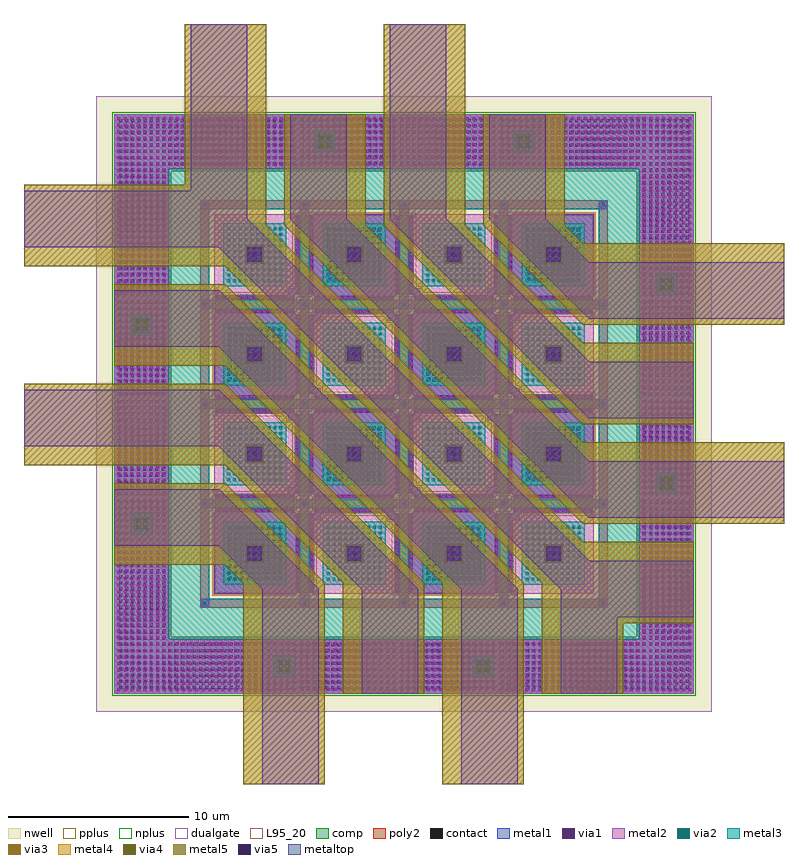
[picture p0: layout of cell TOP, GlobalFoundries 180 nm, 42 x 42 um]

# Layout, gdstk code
import gdstk
lib = gdstk.Library(unit=1e-6, precision=1e-09)
def R(c, l, rs):  # rectangles x0, y0, x1, y1
    for r in rs: c.add(gdstk.rectangle(r[:2], r[2:], *l))
def A(c, l, x, y, w, h, nx, ny, dx, dy):  # array of equal rectangles
    R(c, l, [(x+i*dx, y+j*dy, x+i*dx+w, y+j*dy+h) for i in range(nx) for j in range(ny)])
def P(c, l, *ps):  # polygons
    for p in ps: c.add(gdstk.Polygon(p, *l))
nwell = (21, 0)
comp = (22, 0)
poly2 = (30, 0)
pplus = (31, 0)
nplus = (32, 0)
contact = (33, 0)
metal1 = (34, 0)
via1 = (35, 0)
metal2 = (36, 0)
via2 = (38, 0)
via3 = (40, 0)
via4 = (41, 0)
metal3 = (42, 0)
metal4 = (46, 0)
metaltop = (53, 0)
dualgate = (55, 0)
metal5 = (81, 0)
via5 = (82, 0)
L95_20 = (95, 20)

top = lib.new_cell('TOP')
R(top, nwell, [(4,4,38,38)])
P(top, comp, [(10.54,10.54),(10.54,14.96),(10.56,14.96),(10.56,16.04),(14.61,16.04),(14.61,16.06),(14.94,16.06),(14.94,14.96),(14.96,14.96),(14.96,14.94),(16.06,14.94),(16.06,16.04),(16.04,16.04),(16.04,16.06),(20.46,16.06),(20.46,16.04),(20.44,16.04),(20.44,14.94),(21.54,14.94),(21.54,14.96),(21.56,14.96),(21.56,16.06),(14.61,16.06),(14.61,16.39),(14.96,16.39),(14.96,20.11),(14.61,20.11),(14.61,20.46),(10.56,20.46),(10.56,21.54),(10.54,21.54),(10.54,21.56),(14.96,21.56),(14.96,21.54),(14.94,21.54),(14.94,20.44),(16.04,20.44),(16.04,20.46),(16.06,20.46),(16.06,21.56),(10.54,21.56),(10.54,25.96),(10.56,25.96),(10.56,27.04),(14.61,27.04),(14.61,27.06),(14.94,27.06),(14.94,25.96),(14.96,25.96),(14.96,25.94),(16.06,25.94),(16.06,25.96),(16.39,25.96),(16.39,25.61),(16.04,25.61),(16.04,21.89),(16.39,21.89),(16.39,21.54),(20.11,21.54),(20.11,21.56),(20.44,21.56),(20.44,20.46),(20.46,20.46),(20.46,20.44),(21.56,20.44),(21.56,20.46),(21.89,20.46),(21.89,20.11),(21.54,20.11),(21.54,16.39),(21.89,16.39),(21.89,16.04),(25.61,16.04),(25.61,16.06),(25.94,16.06),(25.94,14.96),(25.96,14.96),(25.96,14.94),(27.06,14.94),(27.06,16.04),(27.04,16.04),(27.04,16.06),(25.61,16.06),(25.61,16.39),(25.96,16.39),(25.96,20.11),(25.61,20.11),(25.61,20.46),(21.56,20.46),(21.56,21.54),(21.54,21.54),(21.54,21.56),(25.96,21.56),(25.96,21.54),(25.94,21.54),(25.94,20.44),(27.04,20.44),(27.04,20.46),(27.06,20.46),(27.06,21.56),(20.11,21.56),(20.11,21.89),(20.46,21.89),(20.46,25.61),(20.11,25.61),(20.11,25.96),(16.06,25.96),(16.06,27.04),(16.04,27.04),(16.04,27.06),(20.46,27.06),(20.46,27.04),(20.44,27.04),(20.44,25.94),(21.54,25.94),(21.54,25.96),(21.56,25.96),(21.56,27.06),(14.61,27.06),(14.61,27.39),(14.96,27.39),(14.96,31.44),(16.04,31.44),(16.04,31.46),(20.46,31.46),(20.46,31.44),(21.54,31.44),(21.54,27.39),(21.89,27.39),(21.89,27.04),(25.61,27.04),(25.61,27.06),(25.94,27.06),(25.94,25.96),(25.96,25.96),(25.96,25.94),(27.06,25.94),(27.06,27.04),(27.04,27.04),(27.04,27.06),(25.61,27.06),(25.61,27.39),(25.96,27.39),(25.96,31.44),(27.04,31.44),(27.04,31.46),(31.46,31.46),(31.46,27.04),(31.44,27.04),(31.44,25.96),(27.39,25.96),(27.39,25.61),(27.04,25.61),(27.04,21.89),(27.39,21.89),(27.39,21.54),(31.44,21.54),(31.44,20.46),(31.46,20.46),(31.46,16.04),(31.44,16.04),(31.44,14.96),(27.39,14.96),(27.39,14.61),(27.04,14.61),(27.04,10.56),(25.96,10.56),(25.96,10.54),(21.54,10.54),(21.54,10.56),(20.46,10.56),(20.46,14.61),(20.11,14.61),(20.11,14.96),(16.39,14.96),(16.39,14.61),(16.04,14.61),(16.04,10.56),(14.96,10.56),(14.96,10.54)],
  [(5,5),(5,34),(8,34),(8,8),(34,8),(34,34),(5,34),(5,37),(37,37),(37,5)])
P(top, poly2, [(9.75,9.75),(9.75,15.25),(10.25,15.25),(10.25,10.25),(15.25,10.25),(15.25,15.25),(15.75,15.25),(15.75,10.25),(20.75,10.25),(20.75,15.25),(21.25,15.25),(21.25,10.25),(26.25,10.25),(26.25,15.25),(26.75,15.25),(26.75,10.25),(31.75,10.25),(31.75,15.25),(9.75,15.25),(9.75,20.75),(10.25,20.75),(10.25,15.75),(15.25,15.75),(15.25,20.75),(15.75,20.75),(15.75,15.75),(20.75,15.75),(20.75,20.75),(21.25,20.75),(21.25,15.75),(26.25,15.75),(26.25,20.75),(26.75,20.75),(26.75,15.75),(31.75,15.75),(31.75,20.75),(9.75,20.75),(9.75,26.25),(10.25,26.25),(10.25,21.25),(15.25,21.25),(15.25,26.25),(15.75,26.25),(15.75,21.25),(20.75,21.25),(20.75,26.25),(21.25,26.25),(21.25,21.25),(26.25,21.25),(26.25,26.25),(26.75,26.25),(26.75,21.25),(31.75,21.25),(31.75,26.25),(9.75,26.25),(9.75,31.75),(10.25,31.75),(10.25,26.75),(15.25,26.75),(15.25,31.75),(15.75,31.75),(15.75,26.75),(20.75,26.75),(20.75,31.75),(21.25,31.75),(21.25,26.75),(26.25,26.75),(26.25,31.75),(26.75,31.75),(26.75,26.75),(31.75,26.75),(31.75,31.75),(9.75,31.75),(9.75,32.25),(32.25,32.25),(32.25,9.75)])
P(top, pplus, [(10.415,10.415),(10.415,14.4),(11.1,14.4),(11.1,11.1),(14.4,11.1),(14.4,14.4),(10.415,14.4),(10.415,15.085),(10.435,15.085),(10.435,15.935),(15.065,15.935),(15.065,15.085),(15.085,15.085),(15.085,15.065),(15.935,15.065),(15.935,15.915),(15.915,15.915),(15.915,15.935),(20.585,15.935),(20.585,15.915),(20.565,15.915),(20.565,15.065),(21.415,15.065),(21.415,15.085),(21.435,15.085),(21.435,15.935),(26.065,15.935),(26.065,15.085),(26.085,15.085),(26.085,15.065),(26.935,15.065),(26.935,15.915),(26.915,15.915),(26.915,15.935),(10.435,15.935),(10.435,16.165),(14.485,16.165),(14.485,16.515),(14.835,16.515),(14.835,19.9),(16.6,19.9),(16.6,16.6),(19.9,16.6),(19.9,19.9),(14.835,19.9),(14.835,19.985),(14.485,19.985),(14.485,20.335),(22.015,20.335),(22.015,19.985),(21.665,19.985),(21.665,16.515),(22.015,16.515),(22.015,16.165),(25.485,16.165),(25.485,16.515),(25.835,16.515),(25.835,19.9),(27.6,19.9),(27.6,16.6),(30.9,16.6),(30.9,19.9),(25.835,19.9),(25.835,19.985),(25.485,19.985),(25.485,20.335),(10.435,20.335),(10.435,21.415),(10.415,21.415),(10.415,21.435),(15.085,21.435),(15.085,21.415),(15.065,21.415),(15.065,20.565),(15.915,20.565),(15.915,20.585),(15.935,20.585),(15.935,21.435),(20.565,21.435),(20.565,20.585),(20.585,20.585),(20.585,20.565),(21.435,20.565),(21.435,21.415),(21.415,21.415),(21.415,21.435),(26.085,21.435),(26.085,21.415),(26.065,21.415),(26.065,20.565),(26.915,20.565),(26.915,20.585),(26.935,20.585),(26.935,21.435),(10.415,21.435),(10.415,25.4),(11.1,25.4),(11.1,22.1),(14.4,22.1),(14.4,25.4),(10.415,25.4),(10.415,25.835),(16.515,25.835),(16.515,25.485),(16.165,25.485),(16.165,22.015),(16.515,22.015),(16.515,21.665),(19.985,21.665),(19.985,22.015),(20.335,22.015),(20.335,25.4),(22.1,25.4),(22.1,22.1),(25.4,22.1),(25.4,25.4),(20.335,25.4),(20.335,25.485),(19.985,25.485),(19.985,25.835),(10.415,25.835),(10.415,26.085),(10.435,26.085),(10.435,26.935),(15.065,26.935),(15.065,26.085),(15.085,26.085),(15.085,26.065),(15.935,26.065),(15.935,26.915),(15.915,26.915),(15.915,26.935),(20.585,26.935),(20.585,26.915),(20.565,26.915),(20.565,26.065),(21.415,26.065),(21.415,26.085),(21.435,26.085),(21.435,26.935),(26.065,26.935),(26.065,26.085),(26.085,26.085),(26.085,26.065),(26.935,26.065),(26.935,26.915),(26.915,26.915),(26.915,26.935),(10.435,26.935),(10.435,27.165),(14.485,27.165),(14.485,27.515),(14.835,27.515),(14.835,30.9),(16.6,30.9),(16.6,27.6),(19.9,27.6),(19.9,30.9),(14.835,30.9),(14.835,31.565),(15.915,31.565),(15.915,31.585),(20.585,31.585),(20.585,31.565),(21.665,31.565),(21.665,27.515),(22.015,27.515),(22.015,27.165),(25.485,27.165),(25.485,27.515),(25.835,27.515),(25.835,30.9),(27.6,30.9),(27.6,27.6),(30.9,27.6),(30.9,30.9),(25.835,30.9),(25.835,31.565),(26.915,31.565),(26.915,31.585),(31.585,31.585),(31.585,26.915),(31.565,26.915),(31.565,25.835),(27.515,25.835),(27.515,25.485),(27.165,25.485),(27.165,22.015),(27.515,22.015),(27.515,21.665),(31.565,21.665),(31.565,20.585),(31.585,20.585),(31.585,15.915),(31.565,15.915),(31.565,14.835),(27.515,14.835),(27.515,14.485),(27.165,14.485),(27.165,10.435),(26.085,10.435),(26.085,10.415),(21.415,10.415),(21.415,10.435),(20.335,10.435),(20.335,14.4),(22.1,14.4),(22.1,11.1),(25.4,11.1),(25.4,14.4),(20.335,14.4),(20.335,14.485),(19.985,14.485),(19.985,14.835),(16.515,14.835),(16.515,14.485),(16.165,14.485),(16.165,10.435),(15.085,10.435),(15.085,10.415)])
R(top, nplus, [(11.1,11.1,14.4,14.4), (22.1,11.1,25.4,14.4), (16.6,16.6,19.9,19.9), (27.6,16.6,30.9,19.9), (11.1,22.1,14.4,25.4), (22.1,22.1,25.4,25.4), (16.6,27.6,19.9,30.9), (27.6,27.6,30.9,30.9)])
P(top, nplus, [(4.875,4.875),(4.875,33.875),(8.125,33.875),(8.125,8.125),(33.875,8.125),(33.875,33.875),(4.875,33.875),(4.875,37.125),(37.125,37.125),(37.125,4.875)])
A(top, contact, 15.27, 5.225, 0.17, 0.17, 16, 8, 0.34, 0.34)
A(top, contact, 20.78, 5.225, 0.17, 0.17, 16, 8, 0.34, 0.34)
A(top, contact, 5.255, 5.25, 0.17, 0.17, 29, 8, 0.34, 0.34)
A(top, contact, 26.38, 5.25, 0.17, 0.17, 31, 8, 0.34, 0.34)
A(top, contact, 5.255, 7.97, 0.17, 0.17, 8, 23, 0.34, 0.34)
A(top, contact, 34.2, 7.97, 0.17, 0.17, 8, 23, 0.34, 0.34)
A(top, contact, 9.915, 9.915, 0.17, 0.17, 5, 5, 5.5, 5.5)
A(top, contact, 15.02, 10.625, 0.17, 0.17, 1, 13, 0, 0.34)
A(top, contact, 15.81, 10.625, 0.17, 0.17, 1, 13, 0, 0.34)
A(top, contact, 20.52, 10.625, 0.17, 0.17, 1, 13, 0, 0.34)
A(top, contact, 21.31, 10.625, 0.17, 0.17, 1, 13, 0, 0.34)
A(top, contact, 26.02, 10.625, 0.17, 0.17, 1, 13, 0, 0.34)
A(top, contact, 26.81, 10.625, 0.17, 0.17, 1, 13, 0, 0.34)
A(top, contact, 11.305, 11.305, 0.17, 0.17, 9, 9, 0.34, 0.34)
A(top, contact, 22.305, 11.305, 0.17, 0.17, 9, 9, 0.34, 0.34)
A(top, contact, 10.625, 15.02, 0.17, 0.17, 13, 2, 0.34, 0.79)
A(top, contact, 16.125, 15.02, 0.17, 0.17, 13, 2, 0.34, 0.79)
A(top, contact, 21.625, 15.02, 0.17, 0.17, 13, 2, 0.34, 0.79)
A(top, contact, 27.125, 15.02, 0.17, 0.17, 13, 2, 0.34, 0.79)
A(top, contact, 5.225, 15.95, 0.17, 0.17, 8, 16, 0.34, 0.34)
A(top, contact, 34.225, 15.95, 0.17, 0.17, 8, 16, 0.34, 0.34)
A(top, contact, 15.02, 16.125, 0.17, 0.17, 1, 13, 0, 0.34)
A(top, contact, 15.81, 16.125, 0.17, 0.17, 1, 13, 0, 0.34)
A(top, contact, 20.52, 16.125, 0.17, 0.17, 1, 13, 0, 0.34)
A(top, contact, 21.31, 16.125, 0.17, 0.17, 1, 13, 0, 0.34)
A(top, contact, 26.02, 16.125, 0.17, 0.17, 1, 13, 0, 0.34)
A(top, contact, 26.81, 16.125, 0.17, 0.17, 1, 13, 0, 0.34)
A(top, contact, 16.805, 16.805, 0.17, 0.17, 9, 9, 0.34, 0.34)
A(top, contact, 27.805, 16.805, 0.17, 0.17, 9, 9, 0.34, 0.34)
A(top, contact, 10.625, 20.52, 0.17, 0.17, 13, 2, 0.34, 0.79)
A(top, contact, 16.125, 20.52, 0.17, 0.17, 13, 2, 0.34, 0.79)
A(top, contact, 21.625, 20.52, 0.17, 0.17, 13, 2, 0.34, 0.79)
A(top, contact, 27.125, 20.52, 0.17, 0.17, 13, 2, 0.34, 0.79)
A(top, contact, 5.225, 21.45, 0.17, 0.17, 8, 16, 0.34, 0.34)
A(top, contact, 34.225, 21.46, 0.17, 0.17, 8, 16, 0.34, 0.34)
A(top, contact, 15.02, 21.625, 0.17, 0.17, 1, 13, 0, 0.34)
A(top, contact, 15.81, 21.625, 0.17, 0.17, 1, 13, 0, 0.34)
A(top, contact, 20.52, 21.625, 0.17, 0.17, 1, 13, 0, 0.34)
A(top, contact, 21.31, 21.625, 0.17, 0.17, 1, 13, 0, 0.34)
A(top, contact, 26.02, 21.625, 0.17, 0.17, 1, 13, 0, 0.34)
A(top, contact, 26.81, 21.625, 0.17, 0.17, 1, 13, 0, 0.34)
A(top, contact, 11.305, 22.305, 0.17, 0.17, 9, 9, 0.34, 0.34)
A(top, contact, 22.305, 22.305, 0.17, 0.17, 9, 9, 0.34, 0.34)
A(top, contact, 10.625, 26.02, 0.17, 0.17, 13, 2, 0.34, 0.79)
A(top, contact, 16.125, 26.02, 0.17, 0.17, 13, 2, 0.34, 0.79)
A(top, contact, 21.625, 26.02, 0.17, 0.17, 13, 2, 0.34, 0.79)
A(top, contact, 27.125, 26.02, 0.17, 0.17, 13, 2, 0.34, 0.79)
A(top, contact, 5.255, 27.055, 0.17, 0.17, 8, 21, 0.34, 0.34)
A(top, contact, 34.2, 27.055, 0.17, 0.17, 8, 21, 0.34, 0.34)
A(top, contact, 15.02, 27.125, 0.17, 0.17, 1, 13, 0, 0.34)
A(top, contact, 15.81, 27.125, 0.17, 0.17, 1, 13, 0, 0.34)
A(top, contact, 20.52, 27.125, 0.17, 0.17, 1, 13, 0, 0.34)
A(top, contact, 21.31, 27.125, 0.17, 0.17, 1, 13, 0, 0.34)
A(top, contact, 26.02, 27.125, 0.17, 0.17, 1, 13, 0, 0.34)
A(top, contact, 26.81, 27.125, 0.17, 0.17, 1, 13, 0, 0.34)
A(top, contact, 16.805, 27.805, 0.17, 0.17, 9, 9, 0.34, 0.34)
A(top, contact, 27.805, 27.805, 0.17, 0.17, 9, 9, 0.34, 0.34)
A(top, contact, 5.255, 34.195, 0.17, 0.17, 29, 8, 0.34, 0.34)
A(top, contact, 26.38, 34.195, 0.17, 0.17, 31, 8, 0.34, 0.34)
A(top, contact, 15.28, 34.225, 0.17, 0.17, 16, 8, 0.34, 0.34)
A(top, contact, 20.78, 34.225, 0.17, 0.17, 16, 8, 0.34, 0.34)
A(top, metal1, 9.75, 9.75, 0.5, 0.5, 5, 5, 5.5, 5.5)
P(top, metal1, [(10.48,10.48),(10.48,15.02),(10.54,15.02),(10.54,15.19),(14.96,15.19),(14.96,15.02),(15.02,15.02),(15.02,14.96),(15.19,14.96),(15.19,10.54),(15.02,10.54),(15.02,10.48)],
  [(15.81,10.54),(15.81,14.96),(16.04,14.96),(16.04,15.19),(20.46,15.19),(20.46,14.96),(20.69,14.96),(20.69,10.54),(20.52,10.54),(20.52,14.61),(20.11,14.61),(20.11,15.02),(16.39,15.02),(16.39,14.61),(15.98,14.61),(15.98,10.54)],
  [(21.48,10.48),(21.48,10.54),(21.31,10.54),(21.31,14.96),(21.48,14.96),(21.48,15.02),(21.54,15.02),(21.54,15.19),(25.96,15.19),(25.96,15.02),(26.02,15.02),(26.02,14.96),(26.19,14.96),(26.19,10.54),(26.02,10.54),(26.02,10.48)],
  [(26.81,10.54),(26.81,14.96),(27.04,14.96),(27.04,15.19),(31.46,15.19),(31.46,15.02),(27.39,15.02),(27.39,14.61),(26.98,14.61),(26.98,10.54)],
  [(10.54,15.81),(10.54,15.98),(14.61,15.98),(14.61,16.39),(15.02,16.39),(15.02,20.11),(14.61,20.11),(14.61,20.52),(10.54,20.52),(10.54,20.69),(14.96,20.69),(14.96,20.46),(15.19,20.46),(15.19,16.04),(14.96,16.04),(14.96,15.81)],
  [(16.04,15.81),(16.04,15.98),(15.98,15.98),(15.98,16.04),(15.81,16.04),(15.81,20.46),(15.98,20.46),(15.98,20.52),(16.04,20.52),(16.04,20.69),(20.46,20.69),(20.46,20.52),(20.52,20.52),(20.52,20.46),(20.69,20.46),(20.69,16.04),(20.52,16.04),(20.52,15.98),(20.46,15.98),(20.46,15.81)],
  [(21.54,15.81),(21.54,16.04),(21.31,16.04),(21.31,20.46),(21.54,20.46),(21.54,20.52),(21.89,20.52),(21.89,20.11),(21.48,20.11),(21.48,16.39),(21.89,16.39),(21.89,15.98),(25.61,15.98),(25.61,16.39),(26.02,16.39),(26.02,20.11),(25.61,20.11),(25.61,20.52),(21.54,20.52),(21.54,20.69),(25.96,20.69),(25.96,20.46),(26.19,20.46),(26.19,16.04),(25.96,16.04),(25.96,15.81)],
  [(27.04,15.81),(27.04,15.98),(26.98,15.98),(26.98,16.04),(26.81,16.04),(26.81,20.46),(26.98,20.46),(26.98,20.52),(27.04,20.52),(27.04,20.69),(31.46,20.69),(31.46,20.52),(31.52,20.52),(31.52,15.98),(31.46,15.98),(31.46,15.81)],
  [(10.54,21.31),(10.54,21.48),(10.48,21.48),(10.48,26.02),(10.54,26.02),(10.54,26.19),(14.96,26.19),(14.96,26.02),(15.02,26.02),(15.02,25.96),(15.19,25.96),(15.19,21.54),(15.02,21.54),(15.02,21.48),(14.96,21.48),(14.96,21.31)],
  [(16.04,21.31),(16.04,21.54),(15.81,21.54),(15.81,25.96),(16.04,25.96),(16.04,26.02),(16.39,26.02),(16.39,25.61),(15.98,25.61),(15.98,21.89),(16.39,21.89),(16.39,21.48),(20.11,21.48),(20.11,21.89),(20.52,21.89),(20.52,25.61),(20.11,25.61),(20.11,26.02),(16.04,26.02),(16.04,26.19),(20.46,26.19),(20.46,25.96),(20.69,25.96),(20.69,21.54),(20.46,21.54),(20.46,21.31)],
  [(21.54,21.31),(21.54,21.48),(21.48,21.48),(21.48,21.54),(21.31,21.54),(21.31,25.96),(21.48,25.96),(21.48,26.02),(21.54,26.02),(21.54,26.19),(25.96,26.19),(25.96,26.02),(26.02,26.02),(26.02,25.96),(26.19,25.96),(26.19,21.54),(26.02,21.54),(26.02,21.48),(25.96,21.48),(25.96,21.31)],
  [(27.04,21.31),(27.04,21.54),(26.81,21.54),(26.81,25.96),(27.04,25.96),(27.04,26.19),(31.46,26.19),(31.46,26.02),(27.39,26.02),(27.39,25.61),(26.98,25.61),(26.98,21.89),(27.39,21.89),(27.39,21.48),(31.46,21.48),(31.46,21.31)],
  [(10.54,26.81),(10.54,26.98),(14.61,26.98),(14.61,27.39),(15.02,27.39),(15.02,31.46),(15.19,31.46),(15.19,27.04),(14.96,27.04),(14.96,26.81)],
  [(21.54,26.81),(21.54,27.04),(21.31,27.04),(21.31,31.46),(21.48,31.46),(21.48,27.39),(21.89,27.39),(21.89,26.98),(25.61,26.98),(25.61,27.39),(26.02,27.39),(26.02,31.46),(26.19,31.46),(26.19,27.04),(25.96,27.04),(25.96,26.81)],
  [(16.04,26.81),(16.04,26.98),(15.98,26.98),(15.98,27.04),(15.81,27.04),(15.81,31.46),(15.98,31.46),(15.98,31.52),(20.52,31.52),(20.52,31.46),(20.69,31.46),(20.69,27.04),(20.52,27.04),(20.52,26.98),(20.46,26.98),(20.46,26.81)],
  [(27.04,26.81),(27.04,26.98),(26.98,26.98),(26.98,27.04),(26.81,27.04),(26.81,31.46),(26.98,31.46),(26.98,31.52),(31.52,31.52),(31.52,26.98),(31.46,26.98),(31.46,26.81)],
  [(5,5),(5,34),(8,34),(8,8),(34,8),(34,34),(5,34),(5,37),(37,37),(37,5)])
A(top, via1, 5.145, 5.13, 0.17, 0.17, 28, 8, 0.36, 0.36)
A(top, via1, 26.26, 5.13, 0.17, 0.17, 30, 8, 0.36, 0.36)
A(top, via1, 15.3, 5.155, 0.17, 0.17, 15, 8, 0.36, 0.36)
A(top, via1, 20.8, 5.155, 0.17, 0.17, 15, 8, 0.36, 0.36)
A(top, via1, 5.145, 8.01, 0.17, 0.17, 8, 22, 0.36, 0.36)
A(top, via1, 34.18, 8.01, 0.17, 0.17, 8, 22, 0.36, 0.36)
A(top, via1, 9.915, 9.915, 0.17, 0.17, 5, 5, 5.5, 5.5)
A(top, via1, 15.02, 10.685, 0.17, 0.17, 1, 12, 0, 0.36)
A(top, via1, 15.81, 10.685, 0.17, 0.17, 1, 12, 0, 0.36)
A(top, via1, 20.52, 10.685, 0.17, 0.17, 1, 12, 0, 0.36)
A(top, via1, 21.31, 10.685, 0.17, 0.17, 1, 12, 0, 0.36)
A(top, via1, 26.02, 10.685, 0.17, 0.17, 1, 12, 0, 0.36)
A(top, via1, 26.81, 10.685, 0.17, 0.17, 1, 12, 0, 0.36)
A(top, via1, 11.225, 11.225, 0.17, 0.17, 9, 9, 0.36, 0.36)
A(top, via1, 22.225, 11.225, 0.17, 0.17, 9, 9, 0.36, 0.36)
A(top, via1, 10.685, 15.02, 0.17, 0.17, 12, 2, 0.36, 0.79)
A(top, via1, 16.185, 15.02, 0.17, 0.17, 12, 2, 0.36, 0.79)
A(top, via1, 21.685, 15.02, 0.17, 0.17, 12, 2, 0.36, 0.79)
A(top, via1, 27.185, 15.02, 0.17, 0.17, 12, 2, 0.36, 0.79)
A(top, via1, 5.155, 15.99, 0.17, 0.17, 8, 15, 0.36, 0.36)
A(top, via1, 34.155, 15.99, 0.17, 0.17, 8, 15, 0.36, 0.36)
A(top, via1, 15.02, 16.185, 0.17, 0.17, 1, 12, 0, 0.36)
A(top, via1, 15.81, 16.185, 0.17, 0.17, 1, 12, 0, 0.36)
A(top, via1, 20.52, 16.185, 0.17, 0.17, 1, 12, 0, 0.36)
A(top, via1, 21.31, 16.185, 0.17, 0.17, 1, 12, 0, 0.36)
A(top, via1, 26.02, 16.185, 0.17, 0.17, 1, 12, 0, 0.36)
A(top, via1, 26.81, 16.185, 0.17, 0.17, 1, 12, 0, 0.36)
A(top, via1, 16.725, 16.725, 0.17, 0.17, 9, 9, 0.36, 0.36)
A(top, via1, 27.725, 16.725, 0.17, 0.17, 9, 9, 0.36, 0.36)
A(top, via1, 10.685, 20.52, 0.17, 0.17, 12, 2, 0.36, 0.79)
A(top, via1, 16.185, 20.52, 0.17, 0.17, 12, 2, 0.36, 0.79)
A(top, via1, 21.685, 20.52, 0.17, 0.17, 12, 2, 0.36, 0.79)
A(top, via1, 27.185, 20.52, 0.17, 0.17, 12, 2, 0.36, 0.79)
A(top, via1, 5.155, 21.49, 0.17, 0.17, 8, 15, 0.36, 0.36)
A(top, via1, 34.155, 21.49, 0.17, 0.17, 8, 15, 0.36, 0.36)
A(top, via1, 15.02, 21.685, 0.17, 0.17, 1, 12, 0, 0.36)
A(top, via1, 15.81, 21.685, 0.17, 0.17, 1, 12, 0, 0.36)
A(top, via1, 20.52, 21.685, 0.17, 0.17, 1, 12, 0, 0.36)
A(top, via1, 21.31, 21.685, 0.17, 0.17, 1, 12, 0, 0.36)
A(top, via1, 26.02, 21.685, 0.17, 0.17, 1, 12, 0, 0.36)
A(top, via1, 26.81, 21.685, 0.17, 0.17, 1, 12, 0, 0.36)
A(top, via1, 11.225, 22.225, 0.17, 0.17, 9, 9, 0.36, 0.36)
A(top, via1, 22.225, 22.225, 0.17, 0.17, 9, 9, 0.36, 0.36)
A(top, via1, 10.685, 26.02, 0.17, 0.17, 12, 2, 0.36, 0.79)
A(top, via1, 16.185, 26.02, 0.17, 0.17, 12, 2, 0.36, 0.79)
A(top, via1, 21.685, 26.02, 0.17, 0.17, 12, 2, 0.36, 0.79)
A(top, via1, 27.185, 26.02, 0.17, 0.17, 12, 2, 0.36, 0.79)
A(top, via1, 5.145, 26.965, 0.17, 0.17, 8, 20, 0.36, 0.36)
A(top, via1, 34.18, 26.965, 0.17, 0.17, 8, 20, 0.36, 0.36)
A(top, via1, 15.02, 27.185, 0.17, 0.17, 1, 12, 0, 0.36)
A(top, via1, 15.81, 27.185, 0.17, 0.17, 1, 12, 0, 0.36)
A(top, via1, 20.52, 27.185, 0.17, 0.17, 1, 12, 0, 0.36)
A(top, via1, 21.31, 27.185, 0.17, 0.17, 1, 12, 0, 0.36)
A(top, via1, 26.02, 27.185, 0.17, 0.17, 1, 12, 0, 0.36)
A(top, via1, 26.81, 27.185, 0.17, 0.17, 1, 12, 0, 0.36)
A(top, via1, 16.725, 27.725, 0.17, 0.17, 9, 9, 0.36, 0.36)
A(top, via1, 27.725, 27.725, 0.17, 0.17, 9, 9, 0.36, 0.36)
A(top, via1, 15.3, 34.155, 0.17, 0.17, 15, 8, 0.36, 0.36)
A(top, via1, 20.8, 34.155, 0.17, 0.17, 15, 8, 0.36, 0.36)
A(top, via1, 5.145, 34.165, 0.17, 0.17, 28, 8, 0.36, 0.36)
A(top, via1, 26.26, 34.165, 0.17, 0.17, 30, 8, 0.36, 0.36)
A(top, metal2, 9.75, 9.75, 0.5, 0.5, 5, 5, 5.5, 5.5)
P(top, metal2, [(10.51,10.51),(10.51,14.99),(10.56,14.99),(10.56,15.22),(14.94,15.22),(14.94,14.99),(14.99,14.99),(14.99,14.94),(15.22,14.94),(15.22,10.56),(14.99,10.56),(14.99,10.51)],
  [(16.01,10.51),(16.01,10.56),(15.78,10.56),(15.78,14.94),(16.01,14.94),(16.01,14.99),(16.06,14.99),(16.06,15.22),(20.44,15.22),(20.44,14.99),(20.49,14.99),(20.49,14.94),(20.72,14.94),(20.72,10.56),(20.49,10.56),(20.49,10.51)],
  [(21.51,10.51),(21.51,10.56),(21.28,10.56),(21.28,14.94),(21.51,14.94),(21.51,14.99),(21.56,14.99),(21.56,15.22),(25.94,15.22),(25.94,14.99),(25.99,14.99),(25.99,14.94),(26.22,14.94),(26.22,10.56),(25.99,10.56),(25.99,10.51)],
  [(27.01,10.51),(27.01,10.56),(26.78,10.56),(26.78,14.94),(27.01,14.94),(27.01,14.99),(27.06,14.99),(27.06,15.22),(31.44,15.22),(31.44,14.99),(31.49,14.99),(31.49,10.51)],
  [(10.56,15.78),(10.56,16.01),(10.51,16.01),(10.51,20.49),(10.56,20.49),(10.56,20.72),(14.94,20.72),(14.94,20.49),(14.99,20.49),(14.99,20.44),(15.22,20.44),(15.22,16.06),(14.99,16.06),(14.99,16.01),(14.94,16.01),(14.94,15.78)],
  [(16.06,15.78),(16.06,16.01),(16.01,16.01),(16.01,16.06),(15.78,16.06),(15.78,20.44),(16.01,20.44),(16.01,20.49),(16.06,20.49),(16.06,20.72),(20.44,20.72),(20.44,20.49),(20.49,20.49),(20.49,20.44),(20.72,20.44),(20.72,16.06),(20.49,16.06),(20.49,16.01),(20.44,16.01),(20.44,15.78)],
  [(21.56,15.78),(21.56,16.01),(21.51,16.01),(21.51,16.06),(21.28,16.06),(21.28,20.44),(21.51,20.44),(21.51,20.49),(21.56,20.49),(21.56,20.72),(25.94,20.72),(25.94,20.49),(25.99,20.49),(25.99,20.44),(26.22,20.44),(26.22,16.06),(25.99,16.06),(25.99,16.01),(25.94,16.01),(25.94,15.78)],
  [(27.06,15.78),(27.06,16.01),(27.01,16.01),(27.01,16.06),(26.78,16.06),(26.78,20.44),(27.01,20.44),(27.01,20.49),(27.06,20.49),(27.06,20.72),(31.44,20.72),(31.44,20.49),(31.49,20.49),(31.49,16.01),(31.44,16.01),(31.44,15.78)],
  [(10.56,21.28),(10.56,21.51),(10.51,21.51),(10.51,25.99),(10.56,25.99),(10.56,26.22),(14.94,26.22),(14.94,25.99),(14.99,25.99),(14.99,25.94),(15.22,25.94),(15.22,21.56),(14.99,21.56),(14.99,21.51),(14.94,21.51),(14.94,21.28)],
  [(16.06,21.28),(16.06,21.51),(16.01,21.51),(16.01,21.56),(15.78,21.56),(15.78,25.94),(16.01,25.94),(16.01,25.99),(16.06,25.99),(16.06,26.22),(20.44,26.22),(20.44,25.99),(20.49,25.99),(20.49,25.94),(20.72,25.94),(20.72,21.56),(20.49,21.56),(20.49,21.51),(20.44,21.51),(20.44,21.28)],
  [(21.56,21.28),(21.56,21.51),(21.51,21.51),(21.51,21.56),(21.28,21.56),(21.28,25.94),(21.51,25.94),(21.51,25.99),(21.56,25.99),(21.56,26.22),(25.94,26.22),(25.94,25.99),(25.99,25.99),(25.99,25.94),(26.22,25.94),(26.22,21.56),(25.99,21.56),(25.99,21.51),(25.94,21.51),(25.94,21.28)],
  [(27.06,21.28),(27.06,21.51),(27.01,21.51),(27.01,21.56),(26.78,21.56),(26.78,25.94),(27.01,25.94),(27.01,25.99),(27.06,25.99),(27.06,26.22),(31.44,26.22),(31.44,25.99),(31.49,25.99),(31.49,21.51),(31.44,21.51),(31.44,21.28)],
  [(10.56,26.78),(10.56,27.01),(10.51,27.01),(10.51,31.49),(14.99,31.49),(14.99,31.44),(15.22,31.44),(15.22,27.06),(14.99,27.06),(14.99,27.01),(14.94,27.01),(14.94,26.78)],
  [(16.06,26.78),(16.06,27.01),(16.01,27.01),(16.01,27.06),(15.78,27.06),(15.78,31.44),(16.01,31.44),(16.01,31.49),(20.49,31.49),(20.49,31.44),(20.72,31.44),(20.72,27.06),(20.49,27.06),(20.49,27.01),(20.44,27.01),(20.44,26.78)],
  [(21.56,26.78),(21.56,27.01),(21.51,27.01),(21.51,27.06),(21.28,27.06),(21.28,31.44),(21.51,31.44),(21.51,31.49),(25.99,31.49),(25.99,31.44),(26.22,31.44),(26.22,27.06),(25.99,27.06),(25.99,27.01),(25.94,27.01),(25.94,26.78)],
  [(27.06,26.78),(27.06,27.01),(27.01,27.01),(27.01,27.06),(26.78,27.06),(26.78,31.44),(27.01,31.44),(27.01,31.49),(31.49,31.49),(31.49,27.01),(31.44,27.01),(31.44,26.78)],
  [(5,5),(5,34),(8,34),(8,8),(34,8),(34,34),(5,34),(5,37),(37,37),(37,5)])
A(top, via2, 13.975, 6.105, 0.15, 0.15, 3, 3, 0.32, 0.32)
A(top, via2, 24.975, 6.105, 0.15, 0.15, 3, 3, 0.32, 0.32)
A(top, via2, 9.925, 9.925, 0.15, 0.15, 5, 5, 5.5, 5.5)
A(top, via2, 11.235, 11.235, 0.15, 0.15, 10, 10, 0.32, 0.32)
A(top, via2, 16.735, 11.235, 0.15, 0.15, 10, 10, 0.32, 0.32)
A(top, via2, 22.235, 11.235, 0.15, 0.15, 10, 10, 0.32, 0.32)
A(top, via2, 27.735, 11.235, 0.15, 0.15, 10, 10, 0.32, 0.32)
A(top, via2, 6.105, 13.975, 0.15, 0.15, 3, 3, 0.32, 0.32)
A(top, via2, 35.105, 16.235, 0.15, 0.15, 3, 3, 0.32, 0.32)
A(top, via2, 11.235, 16.735, 0.15, 0.15, 10, 10, 0.32, 0.32)
A(top, via2, 16.735, 16.735, 0.15, 0.15, 10, 10, 0.32, 0.32)
A(top, via2, 22.235, 16.735, 0.15, 0.15, 10, 10, 0.32, 0.32)
A(top, via2, 27.735, 16.735, 0.15, 0.15, 10, 10, 0.32, 0.32)
A(top, via2, 11.235, 22.235, 0.15, 0.15, 10, 10, 0.32, 0.32)
A(top, via2, 16.735, 22.235, 0.15, 0.15, 10, 10, 0.32, 0.32)
A(top, via2, 22.235, 22.235, 0.15, 0.15, 10, 10, 0.32, 0.32)
A(top, via2, 27.735, 22.235, 0.15, 0.15, 10, 10, 0.32, 0.32)
A(top, via2, 6.105, 24.975, 0.15, 0.15, 3, 3, 0.32, 0.32)
A(top, via2, 35.105, 27.235, 0.15, 0.15, 3, 3, 0.32, 0.32)
A(top, via2, 11.235, 27.735, 0.15, 0.15, 10, 10, 0.32, 0.32)
A(top, via2, 16.735, 27.735, 0.15, 0.15, 10, 10, 0.32, 0.32)
A(top, via2, 22.235, 27.735, 0.15, 0.15, 10, 10, 0.32, 0.32)
A(top, via2, 27.735, 27.735, 0.15, 0.15, 10, 10, 0.32, 0.32)
A(top, via2, 16.235, 35.105, 0.15, 0.15, 3, 3, 0.32, 0.32)
A(top, via2, 27.235, 35.105, 0.15, 0.15, 3, 3, 0.32, 0.32)
A(top, via3, 12.25, 12.25, 0.2, 0.2, 3, 3, 0.4, 0.4)
A(top, via3, 17.75, 12.25, 0.2, 0.2, 3, 3, 0.4, 0.4)
A(top, via3, 23.25, 12.25, 0.2, 0.2, 3, 3, 0.4, 0.4)
A(top, via3, 28.75, 12.25, 0.2, 0.2, 3, 3, 0.4, 0.4)
A(top, via3, 12.25, 17.75, 0.2, 0.2, 3, 3, 0.4, 0.4)
A(top, via3, 17.75, 17.75, 0.2, 0.2, 3, 3, 0.4, 0.4)
A(top, via3, 23.25, 17.75, 0.2, 0.2, 3, 3, 0.4, 0.4)
A(top, via3, 28.75, 17.75, 0.2, 0.2, 3, 3, 0.4, 0.4)
A(top, via3, 12.25, 23.25, 0.2, 0.2, 3, 3, 0.4, 0.4)
A(top, via3, 17.75, 23.25, 0.2, 0.2, 3, 3, 0.4, 0.4)
A(top, via3, 23.25, 23.25, 0.2, 0.2, 3, 3, 0.4, 0.4)
A(top, via3, 28.75, 23.25, 0.2, 0.2, 3, 3, 0.4, 0.4)
A(top, via3, 12.25, 28.75, 0.2, 0.2, 3, 3, 0.4, 0.4)
A(top, via3, 17.75, 28.75, 0.2, 0.2, 3, 3, 0.4, 0.4)
A(top, via3, 23.25, 28.75, 0.2, 0.2, 3, 3, 0.4, 0.4)
A(top, via3, 28.75, 28.75, 0.2, 0.2, 3, 3, 0.4, 0.4)
R(top, via3, [(14.07,6.2,14.27,6.4), (14.47,6.2,14.67,6.4), (25.07,6.2,25.27,6.4), (25.47,6.2,25.67,6.4), (14.07,6.6,14.27,6.8), (14.47,6.6,14.67,6.8), (25.07,6.6,25.27,6.8), (25.47,6.6,25.67,6.8), (6.2,14.07,6.4,14.27), (6.6,14.07,6.8,14.27), (6.2,14.47,6.4,14.67), (6.6,14.47,6.8,14.67), (35.2,16.33,35.4,16.53), (35.6,16.33,35.8,16.53), (35.2,16.73,35.4,16.93), (35.6,16.73,35.8,16.93), (6.2,25.07,6.4,25.27), (6.6,25.07,6.8,25.27), (6.2,25.47,6.4,25.67), (6.6,25.47,6.8,25.67), (35.2,27.33,35.4,27.53), (35.6,27.33,35.8,27.53), (35.2,27.73,35.4,27.93), (35.6,27.73,35.8,27.93), (16.33,35.2,16.53,35.4), (16.73,35.2,16.93,35.4), (27.33,35.2,27.53,35.4), (27.73,35.2,27.93,35.4), (16.33,35.6,16.53,35.8), (16.73,35.6,16.93,35.8), (27.33,35.6,27.53,35.8), (27.73,35.6,27.93,35.8)])
A(top, via4, 12.25, 12.25, 0.2, 0.2, 3, 3, 0.4, 0.4)
A(top, via4, 17.75, 12.25, 0.2, 0.2, 3, 3, 0.4, 0.4)
A(top, via4, 23.25, 12.25, 0.2, 0.2, 3, 3, 0.4, 0.4)
A(top, via4, 28.75, 12.25, 0.2, 0.2, 3, 3, 0.4, 0.4)
A(top, via4, 12.25, 17.75, 0.2, 0.2, 3, 3, 0.4, 0.4)
A(top, via4, 17.75, 17.75, 0.2, 0.2, 3, 3, 0.4, 0.4)
A(top, via4, 23.25, 17.75, 0.2, 0.2, 3, 3, 0.4, 0.4)
A(top, via4, 28.75, 17.75, 0.2, 0.2, 3, 3, 0.4, 0.4)
A(top, via4, 12.25, 23.25, 0.2, 0.2, 3, 3, 0.4, 0.4)
A(top, via4, 17.75, 23.25, 0.2, 0.2, 3, 3, 0.4, 0.4)
A(top, via4, 23.25, 23.25, 0.2, 0.2, 3, 3, 0.4, 0.4)
A(top, via4, 28.75, 23.25, 0.2, 0.2, 3, 3, 0.4, 0.4)
A(top, via4, 12.25, 28.75, 0.2, 0.2, 3, 3, 0.4, 0.4)
A(top, via4, 17.75, 28.75, 0.2, 0.2, 3, 3, 0.4, 0.4)
A(top, via4, 23.25, 28.75, 0.2, 0.2, 3, 3, 0.4, 0.4)
A(top, via4, 28.75, 28.75, 0.2, 0.2, 3, 3, 0.4, 0.4)
R(top, via4, [(14.07,6.2,14.27,6.4), (14.47,6.2,14.67,6.4), (25.07,6.2,25.27,6.4), (25.47,6.2,25.67,6.4), (14.07,6.6,14.27,6.8), (14.47,6.6,14.67,6.8), (25.07,6.6,25.27,6.8), (25.47,6.6,25.67,6.8), (6.2,14.07,6.4,14.27), (6.6,14.07,6.8,14.27), (6.2,14.47,6.4,14.67), (6.6,14.47,6.8,14.67), (35.2,16.33,35.4,16.53), (35.6,16.33,35.8,16.53), (35.2,16.73,35.4,16.93), (35.6,16.73,35.8,16.93), (6.2,25.07,6.4,25.27), (6.6,25.07,6.8,25.27), (6.2,25.47,6.4,25.67), (6.6,25.47,6.8,25.67), (35.2,27.33,35.4,27.53), (35.6,27.33,35.8,27.53), (35.2,27.73,35.4,27.93), (35.6,27.73,35.8,27.93), (16.33,35.2,16.53,35.4), (16.73,35.2,16.93,35.4), (27.33,35.2,27.53,35.4), (27.73,35.2,27.93,35.4), (16.33,35.6,16.53,35.8), (16.73,35.6,16.93,35.8), (27.33,35.6,27.53,35.8), (27.73,35.6,27.93,35.8)])
A(top, metal3, 11, 11, 3.5, 3.5, 4, 4, 5.5, 5.5)
R(top, metal3, [(13.77,5.9,14.97,7.1), (24.77,5.9,25.97,7.1), (5.9,13.77,7.1,14.97), (34.9,16.03,36.1,17.23), (5.9,24.77,7.1,25.97), (34.9,27.03,36.1,28.23), (16.03,34.9,17.23,36.1), (27.03,34.9,28.23,36.1)])
P(top, metal3, [(8,8),(8,15.25),(10.25,15.25),(10.25,10.25),(15.25,10.25),(15.25,15.25),(15.75,15.25),(15.75,10.25),(20.75,10.25),(20.75,15.25),(21.25,15.25),(21.25,10.25),(26.25,10.25),(26.25,15.25),(26.75,15.25),(26.75,10.25),(31.75,10.25),(31.75,15.25),(8,15.25),(8,20.75),(10.25,20.75),(10.25,15.75),(15.25,15.75),(15.25,20.75),(15.75,20.75),(15.75,15.75),(20.75,15.75),(20.75,20.75),(21.25,20.75),(21.25,15.75),(26.25,15.75),(26.25,20.75),(26.75,20.75),(26.75,15.75),(31.75,15.75),(31.75,20.75),(8,20.75),(8,26.25),(10.25,26.25),(10.25,21.25),(15.25,21.25),(15.25,26.25),(15.75,26.25),(15.75,21.25),(20.75,21.25),(20.75,26.25),(21.25,26.25),(21.25,21.25),(26.25,21.25),(26.25,26.25),(26.75,26.25),(26.75,21.25),(31.75,21.25),(31.75,26.25),(8,26.25),(8,31.75),(10.25,31.75),(10.25,26.75),(15.25,26.75),(15.25,31.75),(15.75,31.75),(15.75,26.75),(20.75,26.75),(20.75,31.75),(21.25,31.75),(21.25,26.75),(26.25,26.75),(26.25,31.75),(26.75,31.75),(26.75,26.75),(31.75,26.75),(31.75,31.75),(8,31.75),(8,34),(34,34),(34,8)])
P(top, metal4, [(12.11,0),(12.11,11.13),(11.13,12.11),(5,12.11),(5,16.63),(11.13,16.63),(16.63,11.13),(16.63,0)],
  [(17.61,5),(17.61,11.13),(11.13,17.61),(0,17.61),(0,22.13),(11.13,22.13),(22.13,11.13),(22.13,5)],
  [(23.11,0),(23.11,11.13),(11.13,23.11),(5,23.11),(5,27.63),(11.13,27.63),(27.63,11.13),(27.63,0)],
  [(30.87,14.37),(14.37,30.87),(14.37,37),(18.89,37),(18.89,30.87),(30.87,18.89),(42,18.89),(42,14.37)],
  [(30.87,25.37),(25.37,30.87),(25.37,37),(29.89,37),(29.89,30.87),(30.87,29.89),(42,29.89),(42,25.37)],
  [(28.61,5),(28.61,11.13),(11.13,28.61),(0,28.61),(0,33.13),(8.87,33.13),(8.87,42),(13.39,42),(13.39,30.87),(30.87,13.39),(37,13.39),(37,8.87),(33.13,8.87),(33.13,5)],
  [(30.87,19.87),(19.87,30.87),(19.87,42),(24.39,42),(24.39,30.87),(30.87,24.39),(37,24.39),(37,19.87)])
P(top, metaltop, [(13.17,0),(13.17,10.77),(10.77,13.17),(5,13.17),(5,16.28),(10.78,16.28),(16.28,10.78),(16.28,0)],
  [(18.67,5),(18.67,10.77),(10.77,18.67),(0,18.67),(0,21.78),(10.78,21.78),(21.78,10.78),(21.78,5)],
  [(24.17,0),(24.17,10.77),(10.77,24.17),(5,24.17),(5,27.28),(10.78,27.28),(27.28,10.78),(27.28,0)],
  [(31.22,14.72),(14.72,31.22),(14.72,37),(17.83,37),(17.83,31.23),(31.23,17.83),(42,17.83),(42,14.72)],
  [(31.22,25.72),(25.72,31.22),(25.72,37),(28.83,37),(28.83,31.23),(31.23,28.83),(42,28.83),(42,25.72)],
  [(29.67,5),(29.67,10.77),(10.77,29.67),(0,29.67),(0,32.78),(9.22,32.78),(9.22,42),(12.33,42),(12.33,31.23),(31.23,12.33),(37,12.33),(37,9.22),(32.78,9.22),(32.78,5)],
  [(31.22,20.22),(20.22,31.22),(20.22,42),(23.33,42),(23.33,31.23),(31.23,23.33),(37,23.33),(37,20.22)])
R(top, dualgate, [(4,4,38,38)])
P(top, metal5, [(12.11,0),(12.11,11.13),(11.13,12.11),(5,12.11),(5,16.63),(11.13,16.63),(16.63,11.13),(16.63,0)],
  [(17.61,5),(17.61,11.13),(11.13,17.61),(0,17.61),(0,22.13),(11.13,22.13),(22.13,11.13),(22.13,5)],
  [(23.11,0),(23.11,11.13),(11.13,23.11),(5,23.11),(5,27.63),(11.13,27.63),(27.63,11.13),(27.63,0)],
  [(30.87,14.37),(14.37,30.87),(14.37,37),(18.89,37),(18.89,30.87),(30.87,18.89),(42,18.89),(42,14.37)],
  [(30.87,25.37),(25.37,30.87),(25.37,37),(29.89,37),(29.89,30.87),(30.87,29.89),(42,29.89),(42,25.37)],
  [(28.61,5),(28.61,11.13),(11.13,28.61),(0,28.61),(0,33.13),(8.87,33.13),(8.87,42),(13.39,42),(13.39,30.87),(30.87,13.39),(37,13.39),(37,8.87),(33.13,8.87),(33.13,5)],
  [(30.87,19.87),(19.87,30.87),(19.87,42),(24.39,42),(24.39,30.87),(30.87,24.39),(37,24.39),(37,19.87)])
A(top, via5, 12.35, 12.35, 0.8, 0.8, 4, 4, 5.5, 5.5)
A(top, L95_20, 9.815, 9.815, 0.37, 0.37, 5, 5, 5.5, 5.5)

lib.write_gds('TOP.gds')
